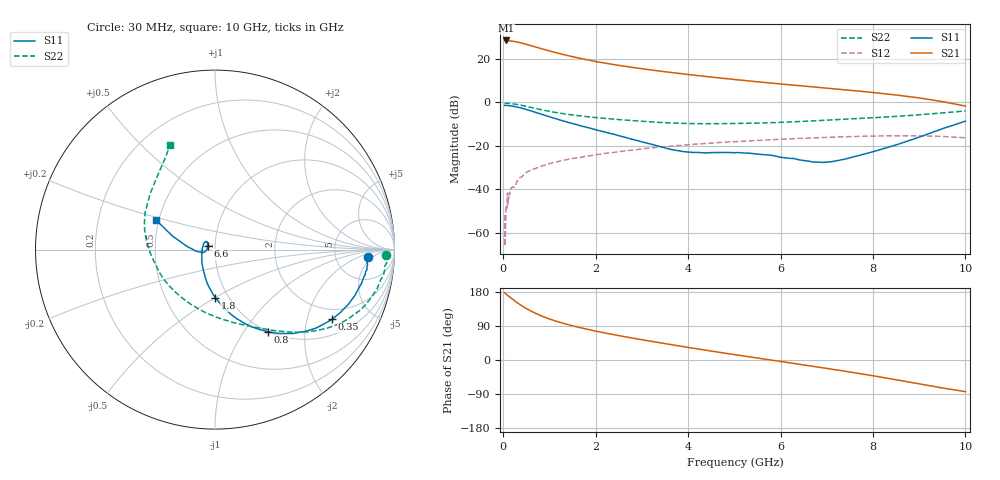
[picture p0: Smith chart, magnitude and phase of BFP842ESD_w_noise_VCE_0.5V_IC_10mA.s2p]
! Infineon Technologies  Discrete & RF Semiconductors
! BFP842ESD
! VCE =  0.5 V,  IC =  10 mA
! Common Emitter S-Parameters:  May 2012
# GHz  S  MA  R  50
!  f  S11  S21  S12  S22
! GHz  MAG  ANG  MAG  ANG  MAG  ANG  MAG  ANG
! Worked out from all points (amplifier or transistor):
!   99 points, 30 MHz to 10 GHz, reference 50 ohm
!   highest |S21| = 28.4 dB at 60 MHz (marker M1)
!   |S21| within 3 dB of that: start of sweep to 699.8 MHz
!   unconditionally stable (mu >= 1): 39.2 MHz to 41.77 MHz; 2.386 GHz to end of sweep
!   at 350 MHz: K = 0.30, MSG = 31.0 dB, |S12| = -34.6 dB
!   at 3.5 GHz: K = 1.12, MAG = 15.1 dB, |S12| = -20.3 dB
!   at 10 GHz: K = 2.00, MAG = 1.6 dB, |S12| = -16.3 dB
!   lowest NFmin = 0.59 dB at 450 MHz
!   S11 on the Smith chart (normalised r, x): 30 MHz: 12, -4; 350 MHz: 1.56, -2.86; 800 MHz: 1.00, -1.30; 1.8 GHz: 0.87, -0.50; 6.6 GHz: 0.92, +0.04; 10 GHz: 0.48, +0.19
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0.03  0.8557 -2.7  25.9 177.4  0.0026 57.8  0.9553 -1.7
0.04  0.8515 -3.7  25.98 176.2  0.0005 71.1  0.9544 -2.4
0.05  0.8495 -4.7  25.92 174.9  0.0012 74.9  0.9484 -3.2
0.06  0.8544 -5.7  26.4 174.1  0.004 52.2  0.9571 -3.8
0.15  0.8333 -13.9  25.78 165.3  0.0099 91.6  0.9397 -10.0
0.25  0.8015 -22.6  24.94 156.0  0.0112 72.7  0.9121 -16.7
0.35  0.7595 -30.7  23.63 147.2  0.0186 72.0  0.8753 -22.8
0.5  0.6866 -41.2  21.51 135.8  0.0247 66.9  0.8098 -30.5
0.6  0.6386 -47.0  20.06 129.2  0.028 64.1  0.7663 -34.7
0.8  0.5462 -57.1  17.41 117.7  0.0338 59.5  0.6878 -41.8
1  0.4677 -65.6  15.19 108.3  0.0392 55.2  0.623 -47.5
1.2  0.4029 -72.6  13.33 100.3  0.0441 52.7  0.5718 -52.4
1.5  0.3267 -81.2  11.2 90.2  0.0516 49.6  0.5139 -58.9
1.7  0.2849 -86.8  10.06 84.4  0.0555 47.4  0.4832 -63.0
1.8  0.2694 -89.5  9.594 81.7  0.0582 47.3  0.4722 -65.0
2.5  0.1718 -107.4  7.072 64.4  0.0739 39.5  0.4027 -80.0
3.4  0.0962 -140.0  5.212 45.3  0.0937 29.8  0.3463 -103.0
5.1  0.0704 141.5  3.273 12.5  0.1265 9.1  0.3291 -150.3
6.6  0.0448 153.4  2.317 -14.8  0.1514 -11.1  0.3716 177.7
6.7  0.043 156.1  2.268 -16.6  0.1532 -12.6  0.3761 175.8
8.5  0.1056 -175.2  1.478 -52.1  0.1713 -43.0  0.4769 139.3
10  0.3707 153.2  0.823 -83.5  0.1538 -74.8  0.6342 113.1
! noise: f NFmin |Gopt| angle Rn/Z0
0.45  0.59  0.14  2  0.09
0.9  0.59  0.14  5  0.09
1.5  0.61  0.15  13  0.09
1.9  0.62  0.14  21  0.08
2.4  0.63  0.12  27  0.08
3.5  0.71  0.05  116  0.08
4  0.74  0.06  139  0.08
5  0.8  0.07  -173  0.08
5.5  0.92  0.08  -153  0.09
6  1.03  0.1  -143  0.09
